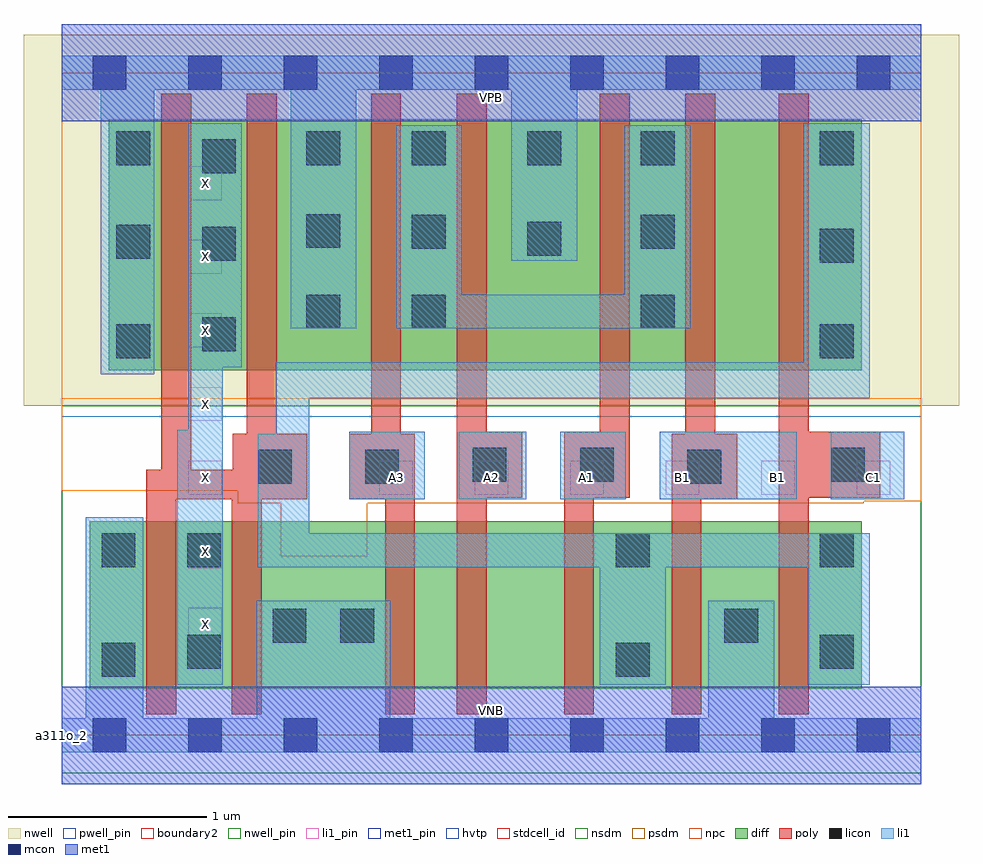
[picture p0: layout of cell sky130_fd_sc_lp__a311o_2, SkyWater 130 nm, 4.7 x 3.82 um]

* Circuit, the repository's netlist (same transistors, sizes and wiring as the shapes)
* Copyright 2020 The SkyWater PDK Authors
*
* Licensed under the Apache License, Version 2.0 (the "License");
* you may not use this file except in compliance with the License.
* You may obtain a copy of the License at
*
*     https://www.apache.org/licenses/LICENSE-2.0
*
* Unless required by applicable law or agreed to in writing, software
* distributed under the License is distributed on an "AS IS" BASIS,
* WITHOUT WARRANTIES OR CONDITIONS OF ANY KIND, either express or implied.
* See the License for the specific language governing permissions and
* limitations under the License.
*
* SPDX-License-Identifier: Apache-2.0

.SUBCKT sky130_fd_sc_lp__a311o_2 A1 A2 A3 B1 C1 VGND VNB VPB VPWR X
*.PININFO A1:I A2:I A3:I B1:I C1:I VGND:I VNB:I VPB:I VPWR:I X:O
MMPA0 pndA A1 VPWR VPB sky130_fd_pr__pfet_01v8_hvt m=1 w=1.26U l=0.15U mult=1 sa=0.265
+ sb=0.265 sd=0.28 area=0.063 perim=1.14
MMPA1 pndA A2 VPWR VPB sky130_fd_pr__pfet_01v8_hvt m=1 w=1.26U l=0.15U mult=1 sa=0.265
+ sb=0.265 sd=0.28 area=0.063 perim=1.14
MMPA2 pndA A3 VPWR VPB sky130_fd_pr__pfet_01v8_hvt m=1 w=1.26U l=0.15U mult=1 sa=0.265
+ sb=0.265 sd=0.28 area=0.063 perim=1.14
MMPB0 pndB B1 pndA VPB sky130_fd_pr__pfet_01v8_hvt m=1 w=1.26U l=0.15U mult=1 sa=0.265
+ sb=0.265 sd=0.28 area=0.063 perim=1.14
MMPC0 y C1 pndB VPB sky130_fd_pr__pfet_01v8_hvt m=1 w=1.26U l=0.15U mult=1 sa=0.265
+ sb=0.265 sd=0.28 area=0.063 perim=1.14
MMIPX X y VPWR VPB sky130_fd_pr__pfet_01v8_hvt m=2 w=1.26U l=0.15U mult=1 sa=0.265
+ sb=0.265 sd=0.28 area=0.063 perim=1.14
MMNA0 y A1 sndA1 VNB sky130_fd_pr__nfet_01v8 m=1 w=0.84U l=0.15U mult=1 sa=0.265
+ sb=0.265 sd=0.28 area=0.063 perim=1.14
MMNA1 sndA1 A2 sndA2 VNB sky130_fd_pr__nfet_01v8 m=1 w=0.84U l=0.15U mult=1 sa=0.265
+ sb=0.265 sd=0.28 area=0.063 perim=1.14
MMNA2 sndA2 A3 VGND VNB sky130_fd_pr__nfet_01v8 m=1 w=0.84U l=0.15U mult=1 sa=0.265
+ sb=0.265 sd=0.28 area=0.063 perim=1.14
MMNB0 y B1 VGND VNB sky130_fd_pr__nfet_01v8 m=1 w=0.84U l=0.15U mult=1 sa=0.265
+ sb=0.265 sd=0.28 area=0.063 perim=1.14
MMNC0 y C1 VGND VNB sky130_fd_pr__nfet_01v8 m=1 w=0.84U l=0.15U mult=1 sa=0.265
+ sb=0.265 sd=0.28 area=0.063 perim=1.14
MMINX X y VGND VNB sky130_fd_pr__nfet_01v8 m=2 w=0.84U l=0.15U mult=1 sa=0.265
+ sb=0.265 sd=0.28 area=0.063 perim=1.14
.ENDS sky130_fd_sc_lp__a311o_2

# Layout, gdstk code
import gdstk
lib = gdstk.Library(unit=1e-6, precision=1e-09)
def R(c, l, rs):  # rectangles x0, y0, x1, y1
    for r in rs: c.add(gdstk.rectangle(r[:2], r[2:], *l))
def A(c, l, x, y, w, h, nx, ny, dx, dy):  # array of equal rectangles
    R(c, l, [(x+i*dx, y+j*dy, x+i*dx+w, y+j*dy+h) for i in range(nx) for j in range(ny)])
def P(c, l, *ps):  # polygons
    for p in ps: c.add(gdstk.Polygon(p, *l))
nwell_pin = (64, 16)
nwell = (64, 20)
diff = (65, 20)
poly = (66, 20)
licon = (66, 44)
li1_pin = (67, 16)
li1 = (67, 20)
mcon = (67, 44)
met1_pin = (68, 16)
met1 = (68, 20)
hvtp = (78, 44)
stdcell_id = (81, 4)
nsdm = (93, 44)
psdm = (94, 20)
npc = (95, 20)
pwell_pin = (122, 16)
boundary2 = (236, 0)

sky130_fd_sc_lp__a311o_2 = lib.new_cell('sky130_fd_sc_lp__a311o_2')
R(sky130_fd_sc_lp__a311o_2, nwell_pin, [(0,3.085,4.32,3.33)])
R(sky130_fd_sc_lp__a311o_2, nwell, [(-0.19,1.655,4.51,3.52)])
R(sky130_fd_sc_lp__a311o_2, diff, [(0.14,0.235,4.02,1.075), (0.235,1.835,4.02,3.095)])
P(sky130_fd_sc_lp__a311o_2, poly, [(1.235,1.515),(1.08,1.515),(1.08,3.225),(0.93,3.225),(0.93,1.515),(0.86,1.515),(0.86,1.335),(0.65,1.335),(0.65,3.225),(0.5,3.225),(0.5,1.335),(0.425,1.335),(0.425,0.105),(0.575,0.105),(0.575,1.185),(0.855,1.185),(0.855,0.105),(1.005,0.105),(1.005,1.185),(1.235,1.185)],
  [(1.775,1.515),(1.705,1.515),(1.705,3.225),(1.555,3.225),(1.555,1.515),(1.445,1.515),(1.445,1.185),(1.625,1.185),(1.625,0.105),(1.775,0.105)],
  [(2.315,1.525),(2.135,1.525),(2.135,3.225),(1.985,3.225),(1.985,0.105),(2.135,0.105),(2.135,1.195),(2.315,1.195)],
  [(2.855,3.225),(2.705,3.225),(2.705,1.525),(2.525,1.525),(2.525,0.105),(2.675,0.105),(2.675,1.195),(2.855,1.195)],
  [(3.395,1.515),(3.285,1.515),(3.285,3.225),(3.135,3.225),(3.135,1.515),(3.065,1.515),(3.065,0.105),(3.215,0.105),(3.215,1.185),(3.395,1.185)],
  [(4.115,1.525),(3.755,1.525),(3.755,3.225),(3.605,3.225),(3.605,0.105),(3.755,0.105),(3.755,1.195),(4.115,1.195)])
R(sky130_fd_sc_lp__a311o_2, licon, [(0.2,0.295,0.37,0.465), (2.785,0.295,2.955,0.465), (0.63,0.335,0.8,0.505), (3.81,0.335,3.98,0.505), (1.06,0.465,1.23,0.635), (1.4,0.465,1.57,0.635), (3.33,0.465,3.5,0.635), (0.2,0.845,0.37,1.015), (0.63,0.845,0.8,1.015), (2.785,0.845,2.955,1.015), (3.81,0.845,3.98,1.015), (0.985,1.265,1.155,1.435), (1.525,1.265,1.695,1.435), (3.145,1.265,3.315,1.435), (2.065,1.275,2.235,1.445), (2.605,1.275,2.775,1.445), (3.865,1.275,4.035,1.445), (0.275,1.895,0.445,2.065), (3.81,1.895,3.98,2.065), (0.705,1.93,0.875,2.1), (1.23,2.045,1.4,2.215), (1.76,2.045,1.93,2.215), (2.91,2.045,3.08,2.215), (3.81,2.375,3.98,2.545), (0.705,2.385,0.875,2.555), (0.275,2.395,0.445,2.565), (2.34,2.41,2.51,2.58), (1.76,2.445,1.93,2.615), (2.91,2.445,3.08,2.615), (1.23,2.45,1.4,2.62), (0.705,2.825,0.875,2.995), (0.275,2.865,0.445,3.035), (1.23,2.865,1.4,3.035), (1.76,2.865,1.93,3.035), (2.34,2.865,2.51,3.035), (2.91,2.865,3.08,3.035), (3.81,2.865,3.98,3.035)])
A(sky130_fd_sc_lp__a311o_2, li1_pin, 0.635, 0.47, 0.17, 0.17, 1, 7, 0, 0.37)
A(sky130_fd_sc_lp__a311o_2, li1_pin, 1.595, 1.21, 0.17, 0.17, 6, 1, 0.48, 0)
R(sky130_fd_sc_lp__a311o_2, li1, [(1.445,1.185,1.825,1.525), (1.995,1.185,2.335,1.525), (2.505,1.185,2.835,1.525), (3.005,1.185,3.695,1.525), (3.865,1.185,4.235,1.525)])
P(sky130_fd_sc_lp__a311o_2, li1, [(2.26,2.385),(2.26,3.245),(1.48,3.245),(1.48,2.045),(1.15,2.045),(1.15,3.245),(0.465,3.245),(0.465,1.815),(0.195,1.815),(0.195,3.245),(0,3.245),(0,3.415),(4.32,3.415),(4.32,3.245),(2.59,3.245),(2.59,2.385)],
  [(3.25,0.085),(3.25,0.675),(3.58,0.675),(3.58,0.085),(4.32,0.085),(4.32,-0.085),(0,-0.085),(0,0.085),(0.12,0.085),(0.12,1.095),(0.41,1.095),(0.41,0.085),(0.98,0.085),(0.98,0.675),(1.65,0.675),(1.65,0.085)],
  [(0.905,3.075),(0.635,3.075),(0.635,1.535),(0.58,1.535),(0.58,0.255),(0.81,0.255),(0.81,1.85),(0.905,1.85)],
  [(1.075,1.875),(3.73,1.875),(3.73,3.075),(4.06,3.075),(4.06,1.695),(1.245,1.695),(1.245,1.015),(4.06,1.015),(4.06,0.255),(3.75,0.255),(3.75,0.845),(3.035,0.845),(3.035,0.255),(2.705,0.255),(2.705,0.845),(0.985,0.845),(0.985,1.515),(1.075,1.515)],
  [(2.01,2.215),(2.83,2.215),(2.83,3.065),(3.16,3.065),(3.16,2.045),(1.68,2.045),(1.68,3.065),(2.01,3.065)])
A(sky130_fd_sc_lp__a311o_2, mcon, 0.155, -0.085, 0.17, 0.17, 9, 2, 0.48, 3.33)
R(sky130_fd_sc_lp__a311o_2, met1_pin, [(0,0,4.32,0.245), (0,3.085,4.32,3.33)])
R(sky130_fd_sc_lp__a311o_2, met1, [(0,-0.245,4.32,0.245), (0,3.085,4.32,3.575)])
R(sky130_fd_sc_lp__a311o_2, hvtp, [(0,1.6,4.32,3.33)])
R(sky130_fd_sc_lp__a311o_2, stdcell_id, [(0,0,4.32,3.33)])
R(sky130_fd_sc_lp__a311o_2, nsdm, [(0,-0.19,4.32,1.655)])
R(sky130_fd_sc_lp__a311o_2, psdm, [(0,1.655,4.32,3.52)])
P(sky130_fd_sc_lp__a311o_2, npc, [(4.32,1.695),(0,1.695),(0,1.23),(0.885,1.23),(0.885,1.165),(1.1,1.165),(1.1,0.9),(1.535,0.9),(1.535,1.165),(4.03,1.165),(4.03,1.175),(4.32,1.175)])
R(sky130_fd_sc_lp__a311o_2, pwell_pin, [(0,0,4.32,0.245)])
R(sky130_fd_sc_lp__a311o_2, boundary2, [(0,0,4.32,3.33)])
sky130_fd_sc_lp__a311o_2.add(gdstk.Label('VNB', (2.16,0.123), layer=64, texttype=59))
sky130_fd_sc_lp__a311o_2.add(gdstk.Label('VPB', (2.16,3.208), layer=64, texttype=5))
sky130_fd_sc_lp__a311o_2.add(gdstk.Label('a311o_2', (0,0), layer=83, texttype=44))
sky130_fd_sc_lp__a311o_2.add(gdstk.Label('VPWR', (2.16,3.208), layer=68, texttype=5))
sky130_fd_sc_lp__a311o_2.add(gdstk.Label('VGND', (2.16,0.123), layer=68, texttype=5))
sky130_fd_sc_lp__a311o_2.add(gdstk.Label('X', (0.72,0.555), layer=67, texttype=5))
sky130_fd_sc_lp__a311o_2.add(gdstk.Label('X', (0.72,0.925), layer=67, texttype=5))
sky130_fd_sc_lp__a311o_2.add(gdstk.Label('X', (0.72,1.295), layer=67, texttype=5))
sky130_fd_sc_lp__a311o_2.add(gdstk.Label('X', (0.72,1.665), layer=67, texttype=5))
sky130_fd_sc_lp__a311o_2.add(gdstk.Label('X', (0.72,2.035), layer=67, texttype=5))
sky130_fd_sc_lp__a311o_2.add(gdstk.Label('X', (0.72,2.405), layer=67, texttype=5))
sky130_fd_sc_lp__a311o_2.add(gdstk.Label('X', (0.72,2.775), layer=67, texttype=5))
sky130_fd_sc_lp__a311o_2.add(gdstk.Label('A1', (2.64,1.295), layer=67, texttype=5))
sky130_fd_sc_lp__a311o_2.add(gdstk.Label('A2', (2.16,1.295), layer=67, texttype=5))
sky130_fd_sc_lp__a311o_2.add(gdstk.Label('A3', (1.68,1.295), layer=67, texttype=5))
sky130_fd_sc_lp__a311o_2.add(gdstk.Label('B1', (3.12,1.295), layer=67, texttype=5))
sky130_fd_sc_lp__a311o_2.add(gdstk.Label('B1', (3.6,1.295), layer=67, texttype=5))
sky130_fd_sc_lp__a311o_2.add(gdstk.Label('C1', (4.08,1.295), layer=67, texttype=5))

lib.write_gds('sky130_fd_sc_lp__a311o_2.gds')
